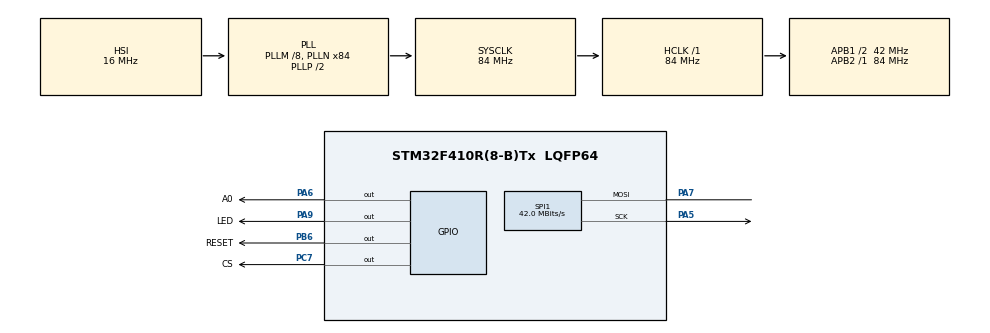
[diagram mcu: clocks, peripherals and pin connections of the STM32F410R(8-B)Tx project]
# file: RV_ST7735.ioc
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Mcu.Family=STM32F4
Mcu.Name=STM32F410R(8-B)Tx
Mcu.Package=LQFP64
NVIC.PriorityGroup=NVIC_PRIORITYGROUP_4
PA5.Mode=Simplex_Bidirectional_Master
PA5.Signal=SPI1_SCK
PA6.GPIO_Label=A0
PA6.Signal=GPIO_Output
PA7.Mode=Simplex_Bidirectional_Master
PA7.Signal=SPI1_MOSI
PA9.GPIO_Label=LED
PA9.Signal=GPIO_Output
PB6.GPIO_Label=RESET
PB6.Signal=GPIO_Output
PC7.GPIO_Label=CS
PC7.Signal=GPIO_Output
ProjectManager.HeapSize=0x200
ProjectManager.StackSize=0x400
ProjectManager.TargetToolchain=MDK-ARM V5
RCC.48MHZClocksFreq_Value=42000000
RCC.AHBFreq_Value=84000000
RCC.APB1CLKDivider=RCC_HCLK_DIV2
RCC.APB1Freq_Value=42000000
RCC.APB1TimFreq_Value=84000000
RCC.APB2Freq_Value=84000000
RCC.APB2TimFreq_Value=84000000
RCC.CortexFreq_Value=84000000
RCC.HCLKFreq_Value=84000000
RCC.HSE_VALUE=25000000
RCC.HSI_VALUE=16000000
RCC.LSE_VALUE=32768
RCC.PLLM=8
RCC.PLLN=84
RCC.SYSCLKFreq_VALUE=84000000
RCC.SYSCLKSource=RCC_SYSCLKSOURCE_PLLCLK
RCC.VCOOutputFreq_Value=168000000
SPI1.CalculateBaudRate=42.0 MBits/s
SPI1.Direction=SPI_DIRECTION_1LINE
SPI1.Mode=SPI_MODE_MASTER
SPI1.VirtualType=VM_MASTER
board=custom

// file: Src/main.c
/* USER CODE BEGIN Header */
/**
  ******************************************************************************
  * @file           : main.c
  * @brief          : Main program body
  ******************************************************************************
  ** This notice applies to any and all portions of this file
  * that are not between comment pairs USER CODE BEGIN and
  * USER CODE END. Other portions of this file, whether
  * inserted by the user or by software development tools
  * are owned by their respective copyright owners.
  *
  * COPYRIGHT(c) 2018 STMicroelectronics
  *
  * Redistribution and use in source and binary forms, with or without modification,
  * are permitted provided that the following conditions are met:
  *   1. Redistributions of source code must retain the above copyright notice,
  *      this list of conditions and the following disclaimer.
  *   2. Redistributions in binary form must reproduce the above copyright notice,
  *      this list of conditions and the following disclaimer in the documentation
  *      and/or other materials provided with the distribution.
  *   3. Neither the name of STMicroelectronics nor the names of its contributors
  *      may be used to endorse or promote products derived from this software
  *      without specific prior written permission.
  *
  * THIS SOFTWARE IS PROVIDED BY THE COPYRIGHT HOLDERS AND CONTRIBUTORS "AS IS"
  * AND ANY EXPRESS OR IMPLIED WARRANTIES, INCLUDING, BUT NOT LIMITED TO, THE
  * IMPLIED WARRANTIES OF MERCHANTABILITY AND FITNESS FOR A PARTICULAR PURPOSE ARE
  * DISCLAIMED. IN NO EVENT SHALL THE COPYRIGHT HOLDER OR CONTRIBUTORS BE LIABLE
  * FOR ANY DIRECT, INDIRECT, INCIDENTAL, SPECIAL, EXEMPLARY, OR CONSEQUENTIAL
  * DAMAGES (INCLUDING, BUT NOT LIMITED TO, PROCUREMENT OF SUBSTITUTE GOODS OR
  * SERVICES; LOSS OF USE, DATA, OR PROFITS; OR BUSINESS INTERRUPTION) HOWEVER
  * CAUSED AND ON ANY THEORY OF LIABILITY, WHETHER IN CONTRACT, STRICT LIABILITY,
  * OR TORT (INCLUDING NEGLIGENCE OR OTHERWISE) ARISING IN ANY WAY OUT OF THE USE
  * OF THIS SOFTWARE, EVEN IF ADVISED OF THE POSSIBILITY OF SUCH DAMAGE.
  *
  ******************************************************************************
  */
/* USER CODE END Header */

#include "main.h"

/* USER CODE BEGIN Includes */
#include "RV_ST7735.h"
/* USER CODE END Includes */

SPI_HandleTypeDef hspi1;

void SystemClock_Config(void);
static void MX_GPIO_Init(void);
static void MX_SPI1_Init(void);

int main(void)
{

  /* MCU Configuration--------------------------------------------------------*/

  /* Reset of all peripherals, Initializes the Flash interface and the Systick. */
  HAL_Init();

  /* Configure the system clock */
  SystemClock_Config();

  /* Initialize all configu	red peripherals */
  MX_GPIO_Init();
  MX_SPI1_Init();
  /* USER CODE BEGIN 2 */
	RV_ST7735_INIT();
	RV_ST7735_LED_ON();

	uint16_t colors[8] = {BLACK, BLUE, RED, GREEN, CYAN, MAGENTA, YELLOW, WHITE};
	for (uint8_t i = 0; i < 8; i++) {
		RV_ST7735_FILLRECT(0, 0, 127, 127, colors[i]);
		HAL_Delay(300);
	}

	for (uint8_t i = 1; i <= 8; i++)
		RV_ST7735_PIXEL(i * 2, i * 2, GREEN);

	RV_ST7735_LINE(20, 5, 80, 5, MAGENTA);
	RV_ST7735_LINE(20, 15, 80, 15, RED);

	RV_ST7735_FILLRECT(90, 5, 120, 35, CYAN);

	RV_ST7735_RECT(10, 20, 30, 40, BLACK);
	RV_ST7735_RECT(40, 20, 60, 40, CYAN);
	RV_ST7735_FILLRECT(45, 25, 55, 35, YELLOW);

	RV_ST7735_CIRCLE(20, 60, 15, RED, 0);
	RV_ST7735_CIRCLE(64, 60, 15, GREEN, 1);
	RV_ST7735_CIRCLE(20, 104, 15, BLUE, 0);
	RV_ST7735_CIRCLE(20, 104, 8, MAGENTA, 1);

	RV_ST7735_STRING(110, 55, (uint8_t *) "RV", WHITE, BLACK);
	RV_ST7735_STRING(100, 55, (uint8_t *) "robotics", BLACK, WHITE);
	RV_ST7735_STRING(90, 55, (uint8_t *) ".ru", BLACK, WHITE);
  /* USER CODE END 2 */

  /* Infinite loop */
  while (1)
  {

  }
}

void SystemClock_Config(void)
{
  RCC_OscInitTypeDef RCC_OscInitStruct = {0};
  RCC_ClkInitTypeDef RCC_ClkInitStruct = {0};

  /**Configure the main internal regulator output voltage
  */
  __HAL_RCC_PWR_CLK_ENABLE();
  __HAL_PWR_VOLTAGESCALING_CONFIG(PWR_REGULATOR_VOLTAGE_SCALE1);
  /**Initializes the CPU, AHB and APB busses clocks
  */
  RCC_OscInitStruct.OscillatorType = RCC_OSCILLATORTYPE_HSI;
  RCC_OscInitStruct.HSIState = RCC_HSI_ON;
  RCC_OscInitStruct.HSICalibrationValue = RCC_HSICALIBRATION_DEFAULT;
  RCC_OscInitStruct.PLL.PLLState = RCC_PLL_ON;
  RCC_OscInitStruct.PLL.PLLSource = RCC_PLLSOURCE_HSI;
  RCC_OscInitStruct.PLL.PLLM = 8;
  RCC_OscInitStruct.PLL.PLLN = 84;
  RCC_OscInitStruct.PLL.PLLP = RCC_PLLP_DIV2;
  RCC_OscInitStruct.PLL.PLLQ = 4;
  RCC_OscInitStruct.PLL.PLLR = 2;
  if (HAL_RCC_OscConfig(&RCC_OscInitStruct) != HAL_OK)
  {
    Error_Handler();
  }
  /**Initializes the CPU, AHB and APB busses clocks
  */
  RCC_ClkInitStruct.ClockType = RCC_CLOCKTYPE_HCLK|RCC_CLOCKTYPE_SYSCLK
                              |RCC_CLOCKTYPE_PCLK1|RCC_CLOCKTYPE_PCLK2;
  RCC_ClkInitStruct.SYSCLKSource = RCC_SYSCLKSOURCE_PLLCLK;
  RCC_ClkInitStruct.AHBCLKDivider = RCC_SYSCLK_DIV1;
  RCC_ClkInitStruct.APB1CLKDivider = RCC_HCLK_DIV2;
  RCC_ClkInitStruct.APB2CLKDivider = RCC_HCLK_DIV1;

  if (HAL_RCC_ClockConfig(&RCC_ClkInitStruct, FLASH_LATENCY_2) != HAL_OK)
  {
    Error_Handler();
  }
}

static void MX_SPI1_Init(void)
{

  /* SPI1 parameter configuration*/
  hspi1.Instance = SPI1;
  hspi1.Init.Mode = SPI_MODE_MASTER;
  hspi1.Init.Direction = SPI_DIRECTION_1LINE;
  hspi1.Init.DataSize = SPI_DATASIZE_8BIT;
  hspi1.Init.CLKPolarity = SPI_POLARITY_LOW;
  hspi1.Init.CLKPhase = SPI_PHASE_1EDGE;
  hspi1.Init.NSS = SPI_NSS_SOFT;
  hspi1.Init.BaudRatePrescaler = SPI_BAUDRATEPRESCALER_2;
  hspi1.Init.FirstBit = SPI_FIRSTBIT_MSB;
  hspi1.Init.TIMode = SPI_TIMODE_DISABLE;
  hspi1.Init.CRCCalculation = SPI_CRCCALCULATION_DISABLE;
  hspi1.Init.CRCPolynomial = 15;
  if (HAL_SPI_Init(&hspi1) != HAL_OK)
  {
    Error_Handler();
  }

}

static void MX_GPIO_Init(void)
{
  GPIO_InitTypeDef GPIO_InitStruct = {0};

  /* GPIO Ports Clock Enable */
  __HAL_RCC_GPIOA_CLK_ENABLE();
  __HAL_RCC_GPIOC_CLK_ENABLE();
  __HAL_RCC_GPIOB_CLK_ENABLE();

  /*Configure GPIO pin Output Level */
  HAL_GPIO_WritePin(GPIOA, A0_Pin|LED_Pin, GPIO_PIN_RESET);

  /*Configure GPIO pin Output Level */
  HAL_GPIO_WritePin(CS_GPIO_Port, CS_Pin, GPIO_PIN_RESET);

  /*Configure GPIO pin Output Level */
  HAL_GPIO_WritePin(RESET_GPIO_Port, RESET_Pin, GPIO_PIN_RESET);

  /*Configure GPIO pins : A0_Pin LED_Pin */
  GPIO_InitStruct.Pin = A0_Pin|LED_Pin;
  GPIO_InitStruct.Mode = GPIO_MODE_OUTPUT_PP;
  GPIO_InitStruct.Pull = GPIO_NOPULL;
  GPIO_InitStruct.Speed = GPIO_SPEED_FREQ_LOW;
  HAL_GPIO_Init(GPIOA, &GPIO_InitStruct);

  /*Configure GPIO pin : CS_Pin */
  GPIO_InitStruct.Pin = CS_Pin;
  GPIO_InitStruct.Mode = GPIO_MODE_OUTPUT_PP;
  GPIO_InitStruct.Pull = GPIO_NOPULL;
  GPIO_InitStruct.Speed = GPIO_SPEED_FREQ_LOW;
  HAL_GPIO_Init(CS_GPIO_Port, &GPIO_InitStruct);

  /*Configure GPIO pin : RESET_Pin */
  GPIO_InitStruct.Pin = RESET_Pin;
  GPIO_InitStruct.Mode = GPIO_MODE_OUTPUT_PP;
  GPIO_InitStruct.Pull = GPIO_NOPULL;
  GPIO_InitStruct.Speed = GPIO_SPEED_FREQ_LOW;
  HAL_GPIO_Init(RESET_GPIO_Port, &GPIO_InitStruct);

}

void Error_Handler(void)
{
}

/************************ (C) COPYRIGHT STMicroelectronics *****END OF FILE****/
